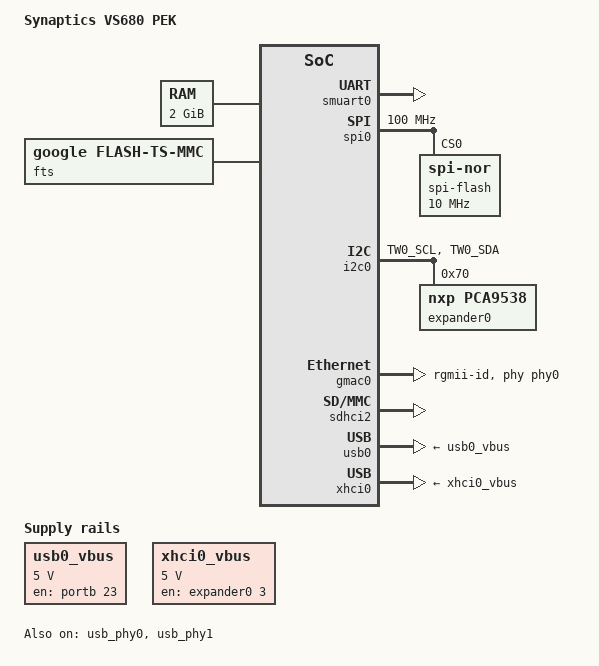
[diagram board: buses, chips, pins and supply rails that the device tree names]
/* SPDX-License-Identifier: GPL-2.0+ */
/*
 * Copyright (C) 2019 Synaptics Incorporated
 *
 * Author: Cheng Lu <Cheng.Lu@synaptics.com>
 *
 */

/dts-v1/;

#include "vs680.dtsi"
#include "include/dt-bindings/gpio/gpio.h"

/ {
	model = "Synaptics VS680 PEK";
	compatible = "Synaptics,vs680", "Synaptics,asserial";

	memory {
		device_type = "memory";
		reg = <0 0 0 0x80000000>;
	};

	fts {
		compatible = "google,flash-ts-mmc";
	};

	chosen {
                stdout-path = &smuart0;
        };

	regulators {
		compatible = "simple-bus";
		#address-cells = <1>;
		#size-cells = <0>;

		usb0_vbus: regulator@0 {
			compatible = "regulator-fixed";
			regulator-name = "usb0_vbus";
			regulator-min-microvolt = <5000000>;
			regulator-max-microvolt = <5000000>;
			gpio = <&portb 23 GPIO_ACTIVE_HIGH>;
			enable-active-high;
		};

		xhci0_vbus: xhci0_vbus {
			compatible = "regulator-fixed";
			regulator-name = "xhci0_vbus";
			regulator-min-microvolt = <5000000>;
			regulator-max-microvolt = <5000000>;
			gpio = <&expander0 3 GPIO_ACTIVE_HIGH>;
			enable-active-high;
		};
	};
};

&pinctrl {
	usb_vbus_pmux: usb_vbus_pmux {
		groups = "USB2_DRV_VBUS";
		function = "gpio";
	};

	i2c_tw0_pmux: i2c_tw0_pmux {
		groups = "TW0_SCL", "TW0_SDA";
		function = "tw0";
	};
};

&CPU_SLEEP_0 {
	status = "disabled";
};

&smuart0 {
	status = "okay";
};

&spi0 {
	status = "okay";
	max-write-size = <128>;
	clock-frequency = <100000000>;
	spi-flash@0 {
		#address-cells = <1>;
		#size-cells = <1>;
		compatible = "jedec,spi-nor";
		reg = <0>;
		memory-map = <0x0 0xf0000000 0x0 0x4000000>;
		spi-max-frequency = <10000000>;
        };
};

&phy0 {
	reg = <0>;
};

&i2c0 {
	status = "okay";
	pinctrl-names = "default";
	pinctrl-0 = <&i2c_tw0_pmux>;

	expander0: gpio@70 {
		compatible = "nxp,pca9538";
		reg = <0x70>;
		gpio-controller;
		#gpio-cells = <2>;
	};
};

&gmac0 {
	max-speed = <1000>;
	phy-mode = "rgmii-id";
	phy-handle = <&phy0>;
	phy = <&phy0>;
};

&sdhci2 {
	status = "okay";
	max-frequency = <50000000>;
	cap-mmc-highspeed;
	1_8v-signalling;
};

&usb_phy0 {
	status = "okay";
};

&usb0 {
	vbus-supply = <&usb0_vbus>;
	status = "okay";
};

&usb_phy1 {
	status = "okay";
};

&xhci0 {
	vbus-supply = <&xhci0_vbus>;
	status = "okay";
};
